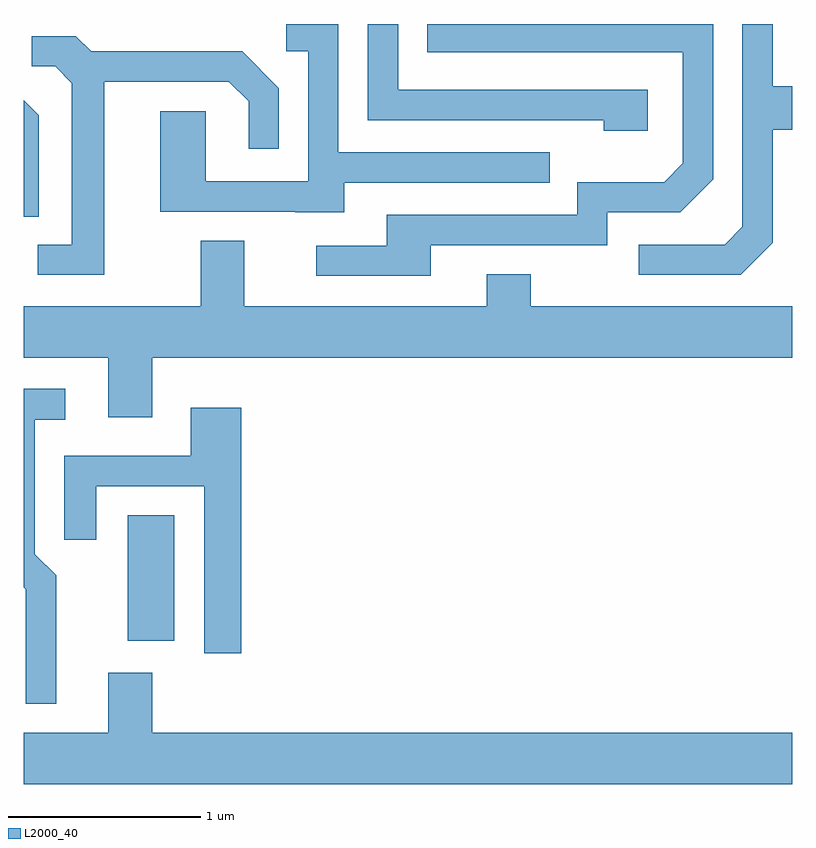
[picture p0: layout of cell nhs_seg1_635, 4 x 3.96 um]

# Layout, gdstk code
import gdstk
lib = gdstk.Library(unit=1e-6, precision=1e-09)
def R(c, l, rs):  # rectangles x0, y0, x1, y1
    for r in rs: c.add(gdstk.rectangle(r[:2], r[2:], *l))
def P(c, l, *ps):  # polygons
    for p in ps: c.add(gdstk.Polygon(p, *l))
L2000_40 = (2000, 40)

nhs_seg1_635 = lib.new_cell('nhs_seg1_635')
R(nhs_seg1_635, L2000_40, [(204.151,942.501,204.394,943.154)])
P(nhs_seg1_635, L2000_40, [(206.859,945.369),(205.559,945.369),(205.559,945.712),(205.401,945.712),(205.401,945.211),(206.631,945.211),(206.631,945.156),(206.859,945.156)],
  [(205.279,944.886),(206.348,944.886),(206.348,945.044),(205.249,945.044),(205.249,945.712),(204.978,945.712),(204.978,945.571),(205.091,945.571),(205.091,944.894),(204.559,944.894),(204.559,945.259),(204.321,945.259),(204.321,944.736),(205.025,944.736),(205.025,944.731),(205.279,944.731)],
  [(207.509,944.574),(207.509,945.161),(207.611,945.161),(207.611,945.389),(207.509,945.389),(207.509,945.712),(207.351,945.712),(207.351,944.657),(207.259,944.564),(206.813,944.564),(206.813,944.406),(207.342,944.406)],
  [(205.729,944.561),(206.649,944.561),(206.649,944.731),(207.027,944.731),(207.199,944.904),(207.199,945.712),(205.711,945.712),(205.711,945.566),(207.041,945.566),(207.041,944.987),(206.944,944.889),(206.491,944.889),(206.491,944.719),(205.501,944.719),(205.501,944.559),(205.133,944.559),(205.133,944.401),(205.729,944.401)],
  [(204.029,945.411),(204.679,945.411),(204.781,945.309),(204.781,945.063),(204.939,945.063),(204.939,945.377),(204.747,945.569),(203.962,945.569),(203.882,945.649),(203.653,945.649),(203.653,945.491),(203.774,945.491),(203.861,945.404),(203.861,944.564),(203.683,944.564),(203.683,944.406),(204.029,944.406)],
  [(203.689,945.237),(203.611,945.315),(203.611,944.708),(203.689,944.708)],
  [(204.279,943.976),(207.611,943.976),(207.611,944.244),(206.249,944.244),(206.249,944.409),(206.021,944.409),(206.021,944.244),(204.759,944.244),(204.759,944.584),(204.531,944.584),(204.531,944.244),(203.611,944.244),(203.611,943.976),(204.051,943.976),(204.051,943.666),(204.279,943.666)],
  [(203.779,942.842),(203.669,942.952),(203.669,943.651),(203.828,943.651),(203.828,943.814),(203.611,943.814),(203.611,942.779),(203.621,942.769),(203.621,942.173),(203.779,942.173)],
  [(204.744,943.714),(204.481,943.714),(204.481,943.464),(203.821,943.464),(203.821,943.028),(203.989,943.028),(203.989,943.306),(204.551,943.306),(204.551,942.436),(204.744,942.436)],
  [(207.611,942.024),(204.279,942.024),(204.279,942.334),(204.051,942.334),(204.051,942.024),(203.611,942.024),(203.611,941.756),(207.611,941.756)])

lib.write_gds('nhs_seg1_635.gds')
